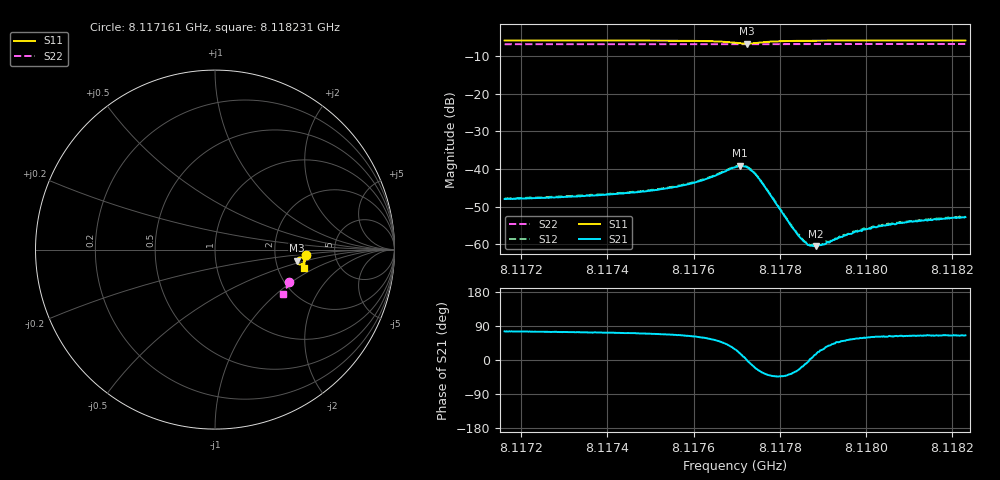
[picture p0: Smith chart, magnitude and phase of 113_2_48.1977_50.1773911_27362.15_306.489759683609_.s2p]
#  HZ  S  RI  R  50.00
! Rohde & Schwarz Vector Network Analyzer
! Rohde-Schwarz,ZNB20-2Port,1311601062101988,3.16
! Created: UTC 3/20/2024, 11:41:05 AM
! freq[Hz]  re:S11  im:S11  re:S21  im:S21  re:S12  im:S12  re:S22  im:S22
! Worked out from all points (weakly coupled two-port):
!   401 points, 8.117161 GHz to 8.118231 GHz, reference 50 ohm
!   highest |S21| = -39.17 dB at 8.117707 GHz (marker M1); lowest = -60.5 dB at 8.117883 GHz (marker M2)
!   lowest |S11| = -6.8 dB at 8.117723 GHz (marker M3), VSWR 2.70, Z = 131 - j20.3 ohm
!   |S11| at or under -10 dB: nowhere
!   |S22| runs from -6.9 to -6.9 dB; largest |S21 - S12| = 0.00042
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8.1171613e9  0.5051 -0.0296  0.000991 0.00387  0.00106 0.00395  0.4136 -0.1801
8.1173405e9  0.5034 -0.0447  0.00127 0.00419  0.00132 0.00424  0.4089 -0.1918
8.1174367e9  0.5019 -0.0535  0.00152 0.00449  0.00161 0.00454  0.4063 -0.198
8.1175196e9  0.4997 -0.062  0.00196 0.00496  0.00206 0.00504  0.4037 -0.2035
8.1176052e9  0.4942 -0.0733  0.00314 0.00588  0.00335 0.00597  0.401 -0.209
8.1176962e9  0.4647 -0.0804  0.00929 0.00492  0.00957 0.005  0.397 -0.2144
8.1177069e9  0.4585 -0.0746  0.0105 0.00343  0.0107 0.00344  0.3965 -0.2148
8.1177229e9  0.4552 -0.0609  0.0106 0.000106  0.0108 7.59e-05  0.3961 -0.215
8.1177363e9  0.4603 -0.0496  0.00912 -0.00223  0.0092 -0.00229  0.396 -0.2153
8.1177496e9  0.4694 -0.0439  0.00687 -0.00344  0.00703 -0.00354  0.3961 -0.2161
8.1178299e9  0.4957 -0.0571  0.00139 -0.000938  0.00136 -0.000945  0.3947 -0.2215
8.1178433e9  0.4966 -0.0596  0.00117 -0.000582  0.00121 -0.000624  0.3943 -0.2227
8.1178566e9  0.4974 -0.062  0.00106 -0.00026  0.00107 -0.000289  0.3939 -0.2235
8.1178673e9  0.4978 -0.0638  0.00098 -5.92e-05  0.001 -8.25e-05  0.3936 -0.2241
8.1178754e9  0.498 -0.0651  0.000961 0.000104  0.000991 9.94e-05  0.3934 -0.2246
8.1178834e9  0.4982 -0.0663  0.000918 0.000235  0.000948 0.000217  0.3931 -0.2254
8.1178967e9  0.4983 -0.0681  0.000882 0.00043  0.000907 0.000411  0.3927 -0.2263
8.1179449e9  0.4985 -0.0739  0.000808 0.00096  0.000828 0.00099  0.391 -0.2292
8.117977e9  0.4984 -0.0775  0.000826 0.00125  0.000826 0.00125  0.39 -0.2313
8.1180545e9  0.4976 -0.085  0.000811 0.00164  0.000881 0.00164  0.3875 -0.2361
8.1181054e9  0.4968 -0.0896  0.000898 0.00181  0.000919 0.00183  0.3856 -0.2393
8.1182311e9  0.4951 -0.0999  0.000973 0.00209  0.00101 0.00211  0.3812 -0.247
